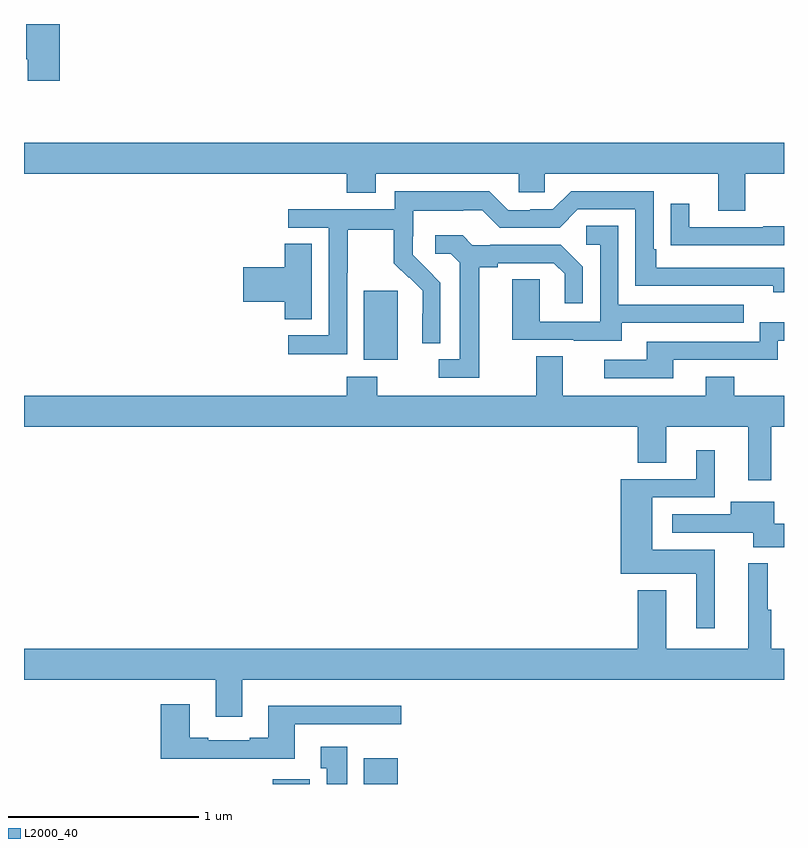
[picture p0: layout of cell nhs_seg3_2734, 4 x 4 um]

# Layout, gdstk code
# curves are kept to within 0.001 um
import gdstk
lib = gdstk.Library(unit=1e-6, precision=1e-09)
def R(c, l, rs):  # rectangles x0, y0, x1, y1
    for r in rs: c.add(gdstk.rectangle(r[:2], r[2:], *l))
def P(c, l, *ps):  # polygons
    for p in ps: c.add(gdstk.Polygon(p, *l))
L2000_40 = (2000, 40)

nhs_seg3_2734 = lib.new_cell('nhs_seg3_2734')
R(nhs_seg3_2734, L2000_40, [(254.309,668.4,254.505,668.425), (254.789,668.4,254.968,668.536), (254.789,670.634,254.968,670.995)])
P(nhs_seg3_2734, L2000_40, [(253.187,672.4),(253.012,672.4),(253.012,672.214),(253.019,672.214),(253.019,672.102),(253.187,672.102)],
  [(256.795,671.612),(257,671.612),(257,671.776),(253,671.776),(253,671.612),(254.699,671.612),(254.699,671.513),(254.851,671.513),(254.851,671.612),(255.603,671.612),(255.603,671.514),(255.741,671.514),(255.741,671.612),(256.655,671.612),(256.655,671.418),(256.795,671.418)],
  [(254.7,671.092),(254.703,671.092),(254.703,671.316),(254.947,671.316),(254.947,671.141),(255.024,671.064),(255.027,671.067),(255.098,670.997),(255.098,670.874),(255.096,670.874),(255.096,670.72),(255.192,670.72),(255.192,671.038),(255.046,671.186),(255.046,671.283),(255.048,671.283),(255.048,671.417),(255.311,671.417),(255.311,671.421),(255.411,671.421),(255.504,671.328),(255.819,671.328),(255.915,671.424),(256.218,671.424),(256.218,671.022),(256.943,671.022),(256.943,670.988),(257,670.988),(257,671.118),(256.327,671.118),(256.327,671.215),(256.314,671.215),(256.314,671.52),(255.879,671.52),(255.783,671.424),(255.665,671.424),(255.665,671.421),(255.549,671.421),(255.449,671.521),(254.952,671.521),(254.952,671.424),(254.391,671.424),(254.391,671.328),(254.604,671.328),(254.604,670.761),(254.391,670.761),(254.391,670.663),(254.7,670.663)],
  [(257,671.336),(256.891,671.336),(256.891,671.331),(256.501,671.331),(256.501,671.455),(256.405,671.455),(256.405,671.236),(256.507,671.236),(256.507,671.235),(257,671.235)],
  [(256.147,670.827),(256.787,670.827),(256.787,670.923),(256.128,670.923),(256.128,671.339),(255.96,671.339),(255.96,671.238),(256.032,671.238),(256.032,670.833),(255.714,670.833),(255.714,671.057),(255.569,671.057),(255.569,670.737),(255.893,670.737),(255.893,670.733),(256.147,670.733)],
  [(255.397,671.12),(255.493,671.12),(255.493,671.142),(255.788,671.142),(255.845,671.085),(255.845,670.929),(255.942,670.929),(255.942,671.122),(255.826,671.238),(255.454,671.238),(255.454,671.235),(255.36,671.235),(255.308,671.287),(255.165,671.287),(255.165,671.19),(255.246,671.19),(255.293,671.143),(255.293,670.635),(255.183,670.635),(255.183,670.539),(255.397,670.539)],
  [(254.515,671.243),(254.372,671.243),(254.372,671.12),(254.154,671.12),(254.154,670.937),(254.372,670.937),(254.372,670.846),(254.515,670.846)],
  [(256.417,670.632),(256.968,670.632),(256.968,670.734),(257,670.734),(257,670.831),(256.872,670.831),(256.872,670.728),(256.277,670.728),(256.277,670.632),(256.053,670.632),(256.053,670.536),(256.417,670.536)],
  [(256.933,670.28),(257,670.28),(257,670.444),(256.737,670.444),(256.737,670.543),(256.589,670.543),(256.589,670.444),(255.835,670.444),(255.835,670.652),(255.695,670.652),(255.695,670.444),(254.859,670.444),(254.859,670.543),(254.699,670.543),(254.699,670.444),(253,670.444),(253,670.28),(256.229,670.28),(256.229,670.09),(256.381,670.09),(256.381,670.28),(256.811,670.28),(256.811,669.999),(256.933,669.999)],
  [(256.636,669.634),(256.306,669.634),(256.306,669.909),(256.636,669.909),(256.636,670.156),(256.538,670.156),(256.538,670.005),(256.142,670.005),(256.142,669.506),(256.538,669.506),(256.538,669.219),(256.636,669.219)],
  [(257,669.77),(256.948,669.77),(256.948,669.886),(256.721,669.886),(256.721,669.819),(256.413,669.819),(256.413,669.723),(256.838,669.723),(256.838,669.647),(257,669.647)],
  [(254.149,668.948),(257,668.948),(257,669.112),(256.933,669.112),(256.933,669.317),(256.915,669.317),(256.915,669.562),(256.811,669.562),(256.811,669.112),(256.381,669.112),(256.381,669.421),(256.229,669.421),(256.229,669.112),(253,669.112),(253,668.948),(254.009,668.948),(254.009,668.754),(254.149,668.754)],
  [(254.425,668.715),(254.986,668.715),(254.986,668.812),(254.285,668.812),(254.285,668.644),(254.189,668.644),(254.189,668.631),(253.969,668.631),(253.969,668.644),(253.873,668.644),(253.873,668.821),(253.721,668.821),(253.721,668.534),(254.425,668.534)],
  [(254.701,668.596),(254.561,668.596),(254.561,668.483),(254.594,668.483),(254.594,668.4),(254.701,668.4)])

lib.write_gds('nhs_seg3_2734.gds')
